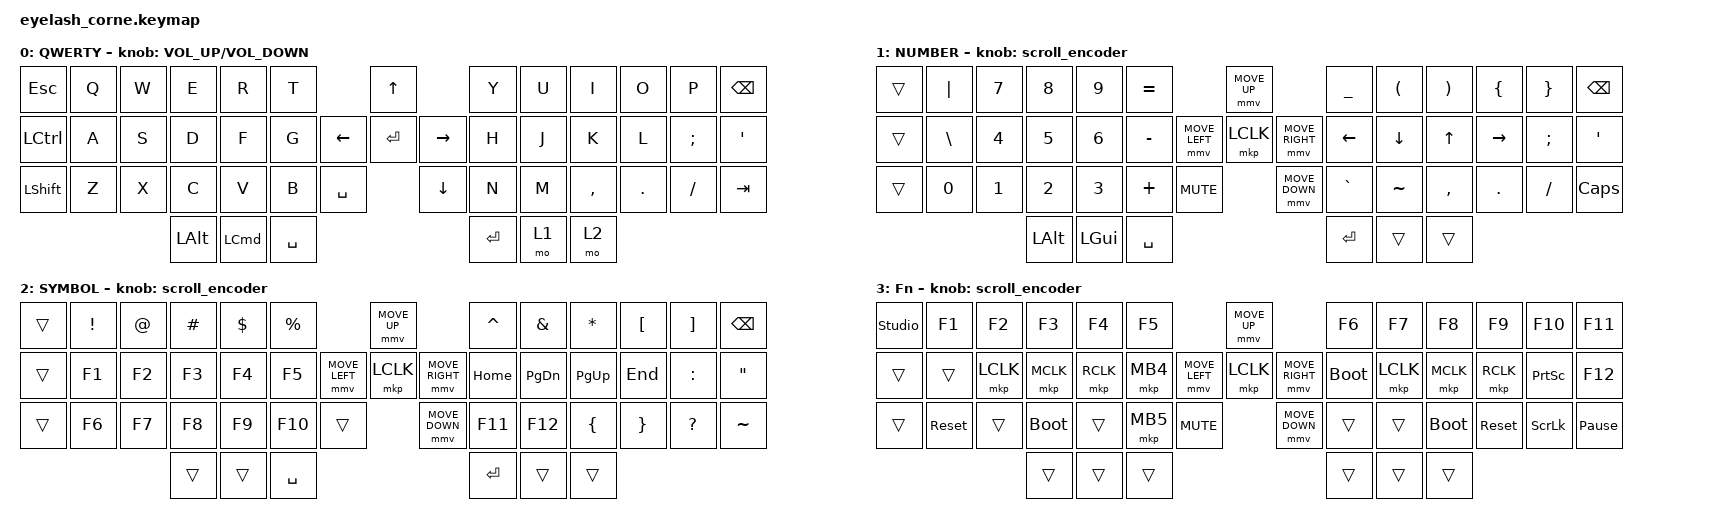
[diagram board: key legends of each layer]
#define ZMK_POINTING_DEFAULT_MOVE_VAL 1200  // 600
#define ZMK_POINTING_DEFAULT_SCRL_VAL 25   // 10

#include <input/processors.dtsi>
#include <zephyr/dt-bindings/input/input-event-codes.h>
#include <behaviors.dtsi>
#include <dt-bindings/zmk/keys.h>
#include <dt-bindings/zmk/pointing.h>
#include <dt-bindings/zmk/rgb.h>

&mmv_input_listener { input-processors = <&zip_xy_scaler 2 1>; };

&msc_input_listener { input-processors = <&zip_scroll_scaler 2 1>; };

&msc {
    acceleration-exponent = <1>;      // 0
    time-to-max-speed-ms = <100>;       // 300
    delay-ms = <0>;                   // 0
};

&mmv {
    time-to-max-speed-ms = <500>;
    acceleration-exponent = <1>;
    trigger-period-ms = <16>;
};

/ {
    behaviors {
        td0: td0 {
            compatible = "zmk,behavior-tap-dance";
            display-name = "Shift/Caps Lock Tap Dance";
            #binding-cells = <0>;
            bindings = <&kp LEFT_SHIFT>, <&kp CAPS>;
        };
    };

    rgb_encoder: rgb_encoder {
        compatible = "zmk,behavior-sensor-rotate";
        #sensor-binding-cells = <0>;
        bindings = <&rgb_ug RGB_BRI>, <&rgb_ug RGB_BRD>;
    };

    scroll_encoder: scroll_encoder {
        compatible = "zmk,behavior-sensor-rotate";
        #sensor-binding-cells = <0>;
        bindings = <&msc SCRL_DOWN>, <&msc SCRL_UP>;

        tap-ms = <100>;
    };

    keymap {
        compatible = "zmk,keymap";

        layer_zero {
            display-name = "QWERTY";
            bindings = <
&kp ESCAPE        &kp Q  &kp W  &kp E         &kp R             &kp T                             &kp UP                &kp Y      &kp U  &kp I      &kp O    &kp P     &kp BSPC
&kp LEFT_CONTROL  &kp A  &kp S  &kp D         &kp F             &kp G                   &kp LEFT  &kp ENTER  &kp RIGHT  &kp H      &kp J  &kp K      &kp L    &kp SEMI  &kp SQT
&kp LEFT_SHIFT    &kp Z  &kp X  &kp C         &kp V             &kp B      &kp SPACE              &kp DOWN              &kp N      &kp M  &kp COMMA  &kp DOT  &kp FSLH  &kp TAB
                                &kp LEFT_ALT  &kp LEFT_COMMAND  &kp SPACE                                               &kp ENTER  &mo 1  &mo 2
            >;

            sensor-bindings = <&inc_dec_kp C_VOLUME_UP C_VOLUME_DOWN>;
        };

        lower_layer {
            display-name = "NUMBER";
            bindings = <
&trans  &kp PIPE       &kp N7  &kp N8        &kp N9    &kp EQUAL                                &mmv MOVE_UP                     &kp UNDERSCORE  &kp LEFT_PARENTHESIS  &kp RIGHT_PARENTHESIS  &kp LEFT_BRACE  &kp RIGHT_BRACE  &kp BSPC
&trans  &kp BACKSLASH  &kp N4  &kp N5        &kp N6    &kp MINUS                &mmv MOVE_LEFT  &mkp LCLK       &mmv MOVE_RIGHT  &kp LEFT        &kp DOWN              &kp UP                 &kp RIGHT       &kp SEMI         &kp SINGLE_QUOTE
&trans  &kp N0         &kp N1  &kp N2        &kp N3    &kp PLUS   &kp C_MUTE                    &mmv MOVE_DOWN                   &kp GRAVE       &kp TILDE             &kp COMMA              &kp DOT         &kp SLASH        &kp CAPSLOCK
                               &kp LEFT_ALT  &kp LGUI  &kp SPACE                                                                 &kp ENTER       &trans                &trans
            >;

            sensor-bindings = <&scroll_encoder>;
        };

        raise_layer {
            display-name = "SYMBOL";
            bindings = <
&trans  &kp EXCL  &kp AT  &kp HASH  &kp DLLR  &kp PRCNT                            &mmv MOVE_UP                     &kp CARET  &kp AMPS       &kp ASTRK    &kp LEFT_BRACKET  &kp RIGHT_BRACKET  &kp BSPC
&trans  &kp F1    &kp F2  &kp F3    &kp F4    &kp F5               &mmv MOVE_LEFT  &mkp LCLK       &mmv MOVE_RIGHT  &kp HOME   &kp PAGE_DOWN  &kp PAGE_UP  &kp END           &kp COLON          &kp DOUBLE_QUOTES
&trans  &kp F6    &kp F7  &kp F8    &kp F9    &kp F10    &trans                    &mmv MOVE_DOWN                   &kp F11    &kp F12        &kp LBRC     &kp RBRC          &kp QUESTION       &kp TILDE
                          &trans    &trans    &kp SPACE                                                             &kp ENTER  &trans         &trans
            >;

            sensor-bindings = <&scroll_encoder>;
        };

        layer_3 {
            display-name = "Fn";
            bindings = <
&studio_unlock  &kp F1      &kp F2     &kp F3       &kp F4     &kp F5                                  &mmv MOVE_UP                     &kp F6       &kp F7     &kp F8       &kp F9      &kp F10          &kp F11
&trans          &trans      &mkp LCLK  &mkp MCLK    &mkp RCLK  &mkp MB4                &mmv MOVE_LEFT  &mkp LCLK       &mmv MOVE_RIGHT  &bootloader  &mkp LCLK  &mkp MCLK    &mkp RCLK   &kp PRINTSCREEN  &kp F12
&trans          &sys_reset  &trans     &bootloader  &trans     &mkp MB5  &kp C_MUTE                    &mmv MOVE_DOWN                   &trans       &trans     &bootloader  &sys_reset  &kp SCROLLLOCK   &kp PAUSE_BREAK
                                       &trans       &trans     &trans                                                                   &trans       &trans     &trans
            >;

            sensor-bindings = <&scroll_encoder>;
        };
    };
};
